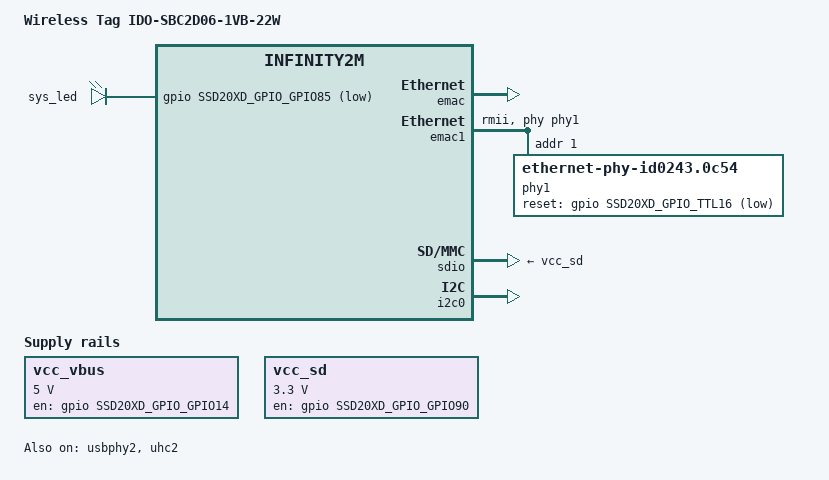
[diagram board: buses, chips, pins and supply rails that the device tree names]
// SPDX-License-Identifier: GPL-2.0-or-later OR MIT
/*
 * Copyright (c) 2021 thingy.jp.
 * Author: Daniel Palmer <daniel@thingy.jp>
 * Author: Romain Perier <romain.perier@gmail.com>
 */

/dts-v1/;
#include "mstar-infinity2m-ssd202d-wirelesstag-ido-som2d01.dtsi"
#include <dt-bindings/gpio/gpio.h>

/ {
	model = "Wireless Tag IDO-SBC2D06-1VB-22W";
	compatible = "wirelesstag,ido-sbc2d06-v1b-22w", "mstar,infinity2m";

	aliases {
		console = &pm_uart;
		ethernet0 = &emac;
		ethernet1 = &emac1;
	};

	leds {
		compatible = "gpio-leds";
		sys_led {
			gpios = <&gpio SSD20XD_GPIO_GPIO85 GPIO_ACTIVE_LOW>;
			linux,default-trigger = "heartbeat";
		};
	};

	vcc_vbus: regulator@2 {
		compatible = "regulator-fixed";
		regulator-name = "vcc_vbus";
		regulator-type = "voltage";
		regulator-min-microvolt = <5000000>;
		regulator-max-microvolt = <5000000>;
		gpios = <&gpio SSD20XD_GPIO_GPIO14 0>;
		enable-active-high;
	};

	vcc_sd: regulator@3 {
		compatible = "regulator-fixed";
		regulator-name = "vcc_sd";
		regulator-type = "voltage";
		regulator-min-microvolt = <3300000>;
		regulator-max-microvolt = <3300000>;
		gpios = <&gpio SSD20XD_GPIO_GPIO90 0>;
		enable-active-high;
	};
};

&emac {
	pinctrl-names = "default";
	pinctrl-0 = <&emac_mode1_pins>, <&pm_led_mode1_pins>;
	status = "okay";
};

&emac1 {
	#address-cells = <1>;
	#size-cells = <0>;
	pinctrl-names = "default";
	pinctrl-0 = <&eth1_mode4_pins>;
	phy-mode = "rmii";
	phy-handle = <&phy1>;
	status = "okay";
	phy1: ethernet-phy@1 {
		compatible = "ethernet-phy-id0243.0c54";
		reg = <1>;
		reset-gpios = <&gpio SSD20XD_GPIO_TTL16 GPIO_ACTIVE_LOW>;
		reset-assert-us = <500000>;
		reset-deassert-us = <500000>;
	};
};

&sdio {
	vmmc-supply = <&vcc_sd>;
	status = "okay";
};

&i2c0 {
        pinctrl-names = "default";
        pinctrl-0 = <&i2c0_mode4_pins>;
	status = "okay";
};

&usbphy2 {
	vbus-supply = <&vcc_vbus>;
	status = "okay";
};

&uhc2 {
	status = "okay";
};
